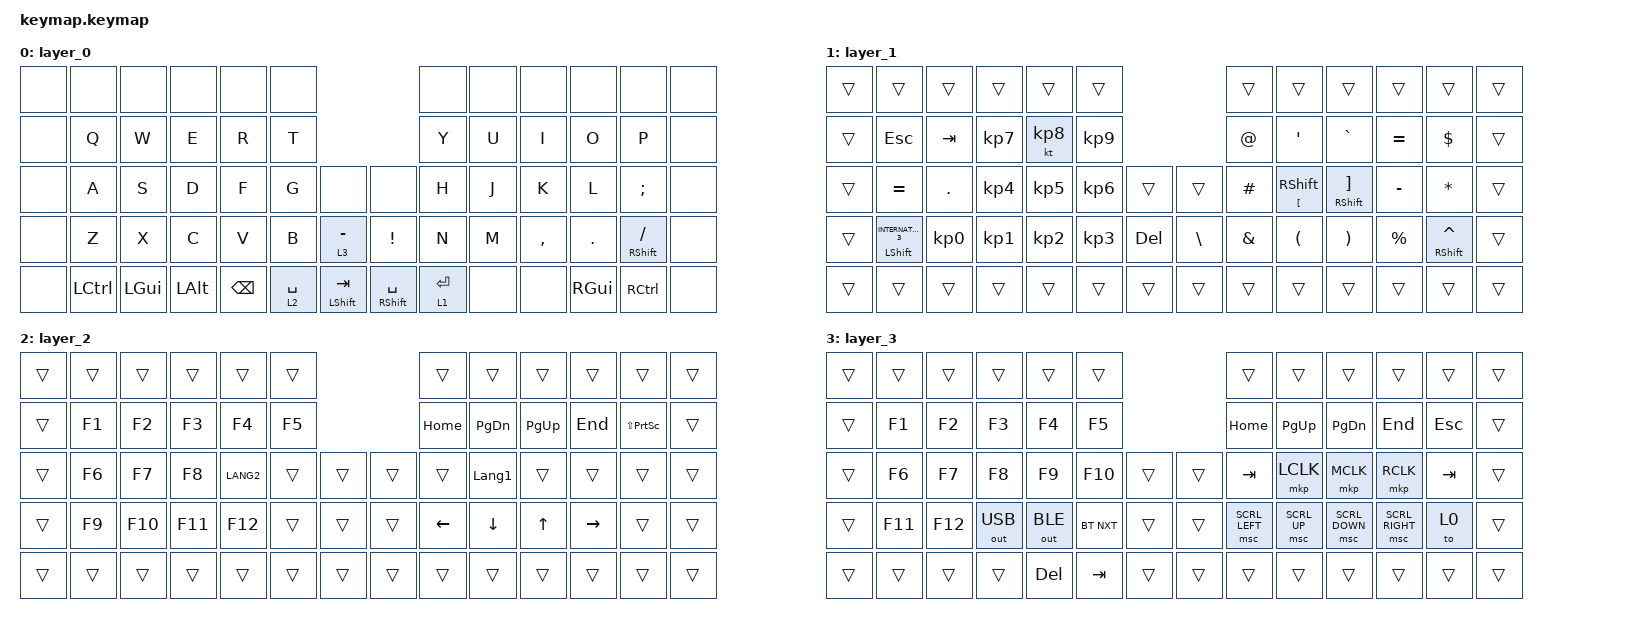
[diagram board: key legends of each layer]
#include <behaviors.dtsi>
#include <dt-bindings/zmk/bt.h>
#include <dt-bindings/zmk/keys.h>
#include <dt-bindings/zmk/outputs.h>
#include <dt-bindings/zmk/pointing.h>

/ {
    combos {
        compatible = "zmk,combos";

        bt_clear {
            bindings = <&bt BT_CLR>;
            key-positions = <28 29>;
            layers = <2>;
        };

        Hold_Mouse {
            bindings = <&to 3>;
            key-positions = <45 47>;
        };
    };

    keymap {
        compatible = "zmk,keymap";

        layer_0 {
            bindings = <
&none  &none      &none     &none     &none     &none                                              &none        &none  &none      &none     &none                 &none
&none  &kp Q      &kp W     &kp E     &kp R     &kp T                                              &kp Y        &kp U  &kp I      &kp O     &kp P                 &none
&none  &kp A      &kp S     &kp D     &kp F     &kp G        &none               &none             &kp H        &kp J  &kp K      &kp L     &kp SEMI              &none
&none  &kp Z      &kp X     &kp C     &kp V     &kp B        &lt 3 MINUS         &kp EXCLAMATION   &kp N        &kp M  &kp COMMA  &kp DOT   &mt RIGHT_SHIFT FSLH  &none
&none  &kp LCTRL  &kp LGUI  &kp LALT  &kp BSPC  &lt 2 SPACE  &mt LEFT_SHIFT TAB  &mt RSHIFT SPACE  &lt 1 ENTER  &none  &none      &kp RGUI  &kp RCTRL             &none
            >;
        };

        layer_1 {
            bindings = <
&trans  &trans                     &trans           &trans           &trans           &trans                                   &trans         &trans                  &trans                   &trans       &trans           &trans
&trans  &kp ESCAPE                 &kp TAB          &kp KP_NUMBER_7  &kt KP_NUMBER_8  &kp KP_NUMBER_9                          &kp AT_SIGN    &kp SINGLE_QUOTE        &kp GRAVE                &kp EQUAL    &kp DOLLAR       &trans
&trans  &kp EQUAL                  &kp PERIOD       &kp KP_NUMBER_4  &kp KP_NUMBER_5  &kp KP_NUMBER_6  &trans   &trans         &kp HASH       &mt LEFT_BRACKET RSHFT  &mt RSHFT RIGHT_BRACKET  &kp MINUS    &kp ASTERISK     &trans
&trans  &mt LSHFT INTERNATIONAL_3  &kp KP_NUMBER_0  &kp KP_NUMBER_1  &kp KP_NUMBER_2  &kp KP_NUMBER_3  &kp DEL  &kp BACKSLASH  &kp AMPERSAND  &kp LEFT_PARENTHESIS    &kp RIGHT_PARENTHESIS    &kp PERCENT  &mt RSHFT CARET  &trans
&trans  &trans                     &trans           &trans           &trans           &trans           &trans   &trans         &trans         &trans                  &trans                   &trans       &trans           &trans
            >;
        };

        layer_2 {
            bindings = <
&trans  &trans  &trans   &trans   &trans     &trans                  &trans    &trans          &trans     &trans     &trans               &trans
&trans  &kp F1  &kp F2   &kp F3   &kp F4     &kp F5                  &kp HOME  &kp PAGE_DOWN   &kp PG_UP  &kp END    &kp LS(PRINTSCREEN)  &trans
&trans  &kp F6  &kp F7   &kp F8   &kp LANG2  &trans  &trans  &trans  &trans    &kp LANGUAGE_1  &trans     &trans     &trans               &trans
&trans  &kp F9  &kp F10  &kp F11  &kp F12    &trans  &trans  &trans  &kp LEFT  &kp DOWN        &kp UP     &kp RIGHT  &trans               &trans
&trans  &trans  &trans   &trans   &trans     &trans  &trans  &trans  &trans    &trans          &trans     &trans     &trans               &trans
            >;
        };

        layer_3 {
            bindings = <
&trans  &trans   &trans   &trans        &trans        &trans                      &trans          &trans        &trans          &trans           &trans      &trans
&trans  &kp F1   &kp F2   &kp F3        &kp F4        &kp F5                      &kp HOME        &kp PG_UP     &kp PAGE_DOWN   &kp END          &kp ESCAPE  &trans
&trans  &kp F6   &kp F7   &kp F8        &kp F9        &kp F10     &trans  &trans  &kp TAB         &mkp LCLK     &mkp MCLK       &mkp RCLK        &kp TAB     &trans
&trans  &kp F11  &kp F12  &out OUT_USB  &out OUT_BLE  &bt BT_NXT  &trans  &trans  &msc SCRL_LEFT  &msc SCRL_UP  &msc SCRL_DOWN  &msc SCRL_RIGHT  &to 0       &trans
&trans  &trans   &trans   &trans        &kp DELETE    &kp TAB     &trans  &trans  &trans          &trans        &trans          &trans           &trans      &trans
            >;
        };
    };
};
